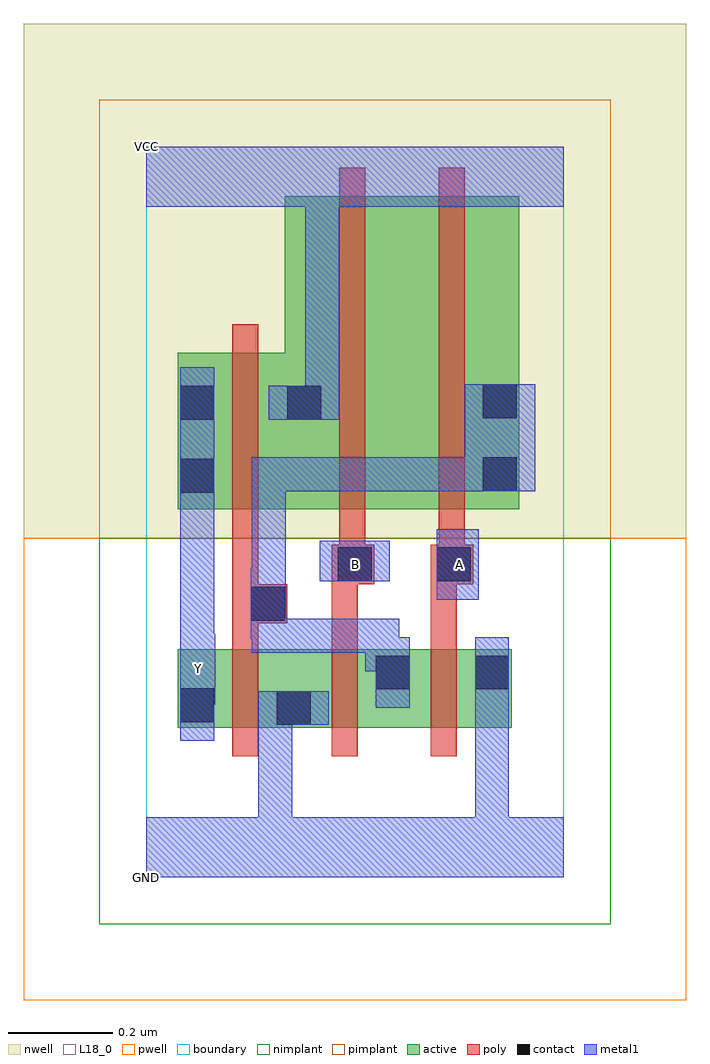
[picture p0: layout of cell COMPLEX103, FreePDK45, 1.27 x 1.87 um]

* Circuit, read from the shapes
.subckt COMPLEX103 A B GND VCC Y
M1 GND n1 Y VSUBS nfet w=0.15u l=0.05u
M2 n1 B GND VSUBS nfet w=0.15u l=0.05u
M3 GND A n1 VSUBS nfet w=0.15u l=0.05u
M4 VCC n1 Y n2 pfet w=0.3u l=0.05u
M5 n3 B VCC n2 pfet w=0.6u l=0.05u
M6 n1 A n3 n2 pfet w=0.6u l=0.05u
.ends

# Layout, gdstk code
import gdstk
lib = gdstk.Library(unit=1e-6, precision=1e-09)
def R(c, l, rs):  # rectangles x0, y0, x1, y1
    for r in rs: c.add(gdstk.rectangle(r[:2], r[2:], *l))
def A(c, l, x, y, w, h, nx, ny, dx, dy):  # array of equal rectangles
    R(c, l, [(x+i*dx, y+j*dy, x+i*dx+w, y+j*dy+h) for i in range(nx) for j in range(ny)])
active = (1, 0)
pwell = (2, 0)
nwell = (3, 0)
nimplant = (4, 0)
pimplant = (5, 0)
poly = (9, 0)
contact = (10, 0)
metal1 = (11, 0)
L18_0 = (18, 0)
boundary = (235, 0)

complex103 = lib.new_cell('COMPLEX103')
R(complex103, active, [(0.06,0.287,0.135,0.437), (0.06,0.287,0.32,0.437), (0.245,0.287,0.51,0.437), (0.245,0.287,0.32,0.397), (0.435,0.287,0.7,0.437), (0.435,0.287,0.51,0.43), (0.625,0.287,0.7,0.437), (0.06,0.705,0.135,1.005), (0.06,0.705,0.34,1.005), (0.265,0.705,0.49,1.305), (0.265,0.705,0.34,1.005), (0.49,0.705,0.715,1.305), (0.64,0.705,0.715,1.2)])
R(complex103, pwell, [(-0.235,-0.235,1.035,0.65)])
R(complex103, nwell, [(-0.235,0.65,1.035,1.635)])
R(complex103, nimplant, [(-0.09,-0.09,0.89,0.65)])
R(complex103, pimplant, [(-0.09,0.65,0.89,1.49)])
A(complex103, poly, 0.165, 0.232, 0.05, 0.26, 3, 1, 0.19, 0)
R(complex103, poly, [(0.165,0.442,0.215,0.537), (0.355,0.442,0.405,0.612), (0.545,0.442,0.595,0.612), (0.165,0.487,0.27,0.562), (0.165,0.512,0.215,0.7), (0.355,0.562,0.437,0.637), (0.545,0.562,0.627,0.637), (0.37,0.587,0.42,0.7), (0.56,0.587,0.61,0.7), (0.165,0.65,0.215,1.06), (0.37,0.65,0.42,1.36), (0.56,0.65,0.61,1.36)])
R(complex103, contact, [(0.25,0.292,0.315,0.357), (0.065,0.297,0.13,0.362), (0.44,0.36,0.505,0.425), (0.63,0.36,0.695,0.425), (0.2,0.492,0.265,0.557), (0.367,0.567,0.432,0.632), (0.557,0.567,0.622,0.632), (0.065,0.737,0.13,0.802), (0.645,0.74,0.71,0.805), (0.065,0.877,0.13,0.942), (0.27,0.877,0.335,0.942), (0.645,0.88,0.71,0.945)])
R(complex103, metal1, [(0,0,0.8,0.115), (0.215,0.05,0.28,0.115), (0.215,0.05,0.28,0.115), (0.215,0.05,0.28,0.115), (0.215,0.05,0.28,0.115), (0.215,0.05,0.28,0.357), (0.63,0.05,0.695,0.115), (0.63,0.05,0.695,0.115), (0.63,0.05,0.695,0.115), (0.63,0.05,0.695,0.115), (0.63,0.05,0.695,0.39), (0.065,0.262,0.13,0.397), (0.215,0.292,0.35,0.357), (0.44,0.325,0.505,0.46), (0.63,0.325,0.695,0.46), (0.065,0.332,0.13,0.397), (0.065,0.332,0.132,0.467), (0.42,0.395,0.505,0.46), (0.42,0.395,0.485,0.495), (0.065,0.402,0.13,0.767), (0.202,0.43,0.267,0.495), (0.202,0.43,0.485,0.495), (0.202,0.43,0.267,0.522), (0.2,0.457,0.267,0.592), (0.202,0.457,0.267,0.522), (0.202,0.457,0.267,0.522), (0.202,0.457,0.267,0.805), (0.557,0.532,0.637,0.667), (0.332,0.567,0.467,0.645), (0.065,0.702,0.13,0.977), (0.202,0.74,0.267,0.805), (0.202,0.74,0.405,0.805), (0.34,0.74,0.405,0.805), (0.34,0.74,0.405,0.805), (0.34,0.74,0.405,0.805), (0.34,0.74,0.675,0.805), (0.61,0.74,0.675,0.805), (0.61,0.74,0.675,0.805), (0.61,0.74,0.745,0.945), (0.235,0.877,0.37,0.942), (0.305,0.877,0.37,1.35), (0,1.285,0.8,1.4)])
R(complex103, L18_0, [(0,0,0.8,0.115), (0.215,0.05,0.28,0.115), (0.215,0.05,0.28,0.115), (0.215,0.05,0.28,0.115), (0.215,0.05,0.28,0.115), (0.215,0.05,0.28,0.357), (0.63,0.05,0.695,0.115), (0.63,0.05,0.695,0.115), (0.63,0.05,0.695,0.115), (0.63,0.05,0.695,0.115), (0.63,0.05,0.695,0.39), (0.065,0.262,0.13,0.397), (0.215,0.292,0.35,0.357), (0.63,0.325,0.695,0.46), (0.065,0.332,0.132,0.467), (0.065,0.332,0.13,0.397), (0.067,0.367,0.132,0.432), (0.065,0.402,0.13,0.767), (0.557,0.532,0.637,0.667), (0.332,0.567,0.467,0.645), (0.367,0.567,0.432,0.632), (0.567,0.567,0.632,0.632), (0.065,0.702,0.13,0.977), (0.235,0.877,0.37,0.942), (0.305,0.877,0.37,1.35), (0,1.285,0.8,1.4)])
R(complex103, boundary, [(0,0,0.8,1.4)])
complex103.add(gdstk.Label('A', (0.6,0.6), layer=11, texttype=0))
complex103.add(gdstk.Label('B', (0.4,0.6), layer=11, texttype=0))
complex103.add(gdstk.Label('Y', (0.1,0.4), layer=11, texttype=0))
complex103.add(gdstk.Label('VCC', (0,1.4), layer=11, texttype=0))
complex103.add(gdstk.Label('GND', (0,0), layer=11, texttype=0))

lib.write_gds('COMPLEX103.gds')
